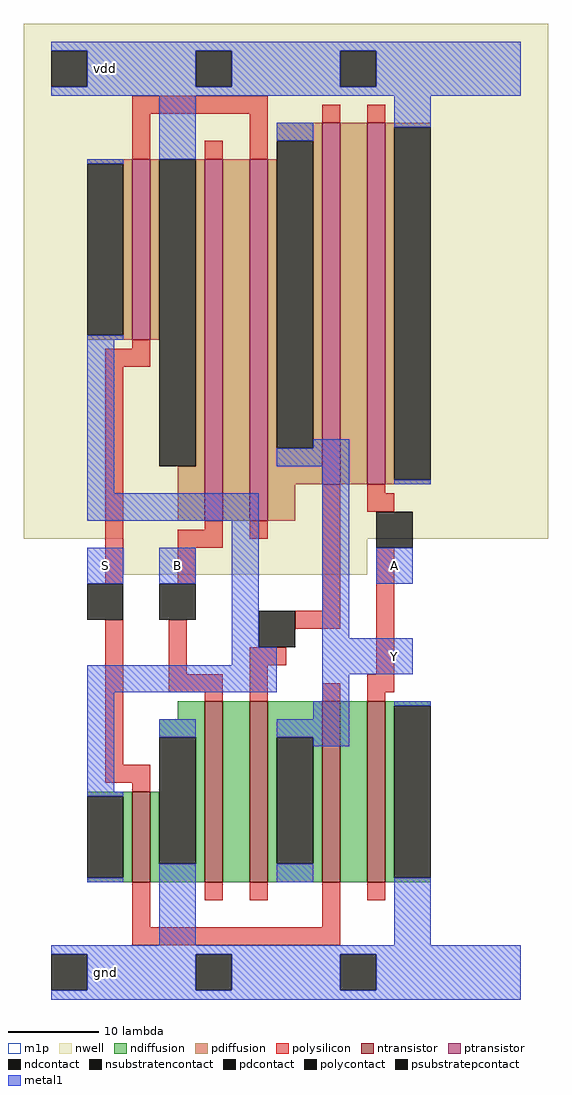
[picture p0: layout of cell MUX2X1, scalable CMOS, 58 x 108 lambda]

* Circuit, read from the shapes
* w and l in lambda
.subckt MUX2X1 A B S Y vdd gnd
M1 gnd S n1 gnd nfet w=10 l=2
M2 n2 B gnd gnd nfet w=20 l=2
M3 Y n1 n2 gnd nfet w=20 l=2
M4 n3 S Y gnd nfet w=20 l=2
M5 gnd A n3 gnd nfet w=20 l=2
M6 vdd S n1 vdd pfet w=20 l=2
M7 n4 B vdd vdd pfet w=40 l=2
M8 Y S n4 vdd pfet w=40 l=2
M9 n5 n1 Y vdd pfet w=40 l=2
M10 vdd A n5 vdd pfet w=40 l=2
.ends

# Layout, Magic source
magic
tech scmos
magscale 1 2
<< nwell >>
rect -10 96 106 210
rect 12 88 66 96
<< ntransistor >>
rect 14 20 18 40
rect 30 20 34 60
rect 40 20 44 60
rect 56 20 60 60
rect 66 20 70 60
<< ptransistor >>
rect 14 140 18 180
rect 30 100 34 180
rect 40 100 44 180
rect 56 108 60 188
rect 66 108 70 188
<< ndiffusion >>
rect 24 56 30 60
rect 20 52 30 56
rect 4 39 14 40
rect 12 21 14 39
rect 4 20 14 21
rect 18 24 20 40
rect 28 24 30 52
rect 18 20 30 24
rect 34 20 40 60
rect 44 52 56 60
rect 44 24 46 52
rect 54 24 56 52
rect 44 20 56 24
rect 60 20 66 60
rect 70 59 80 60
rect 70 21 72 59
rect 70 20 80 21
<< pdiffusion >>
rect 46 184 56 188
rect 4 179 14 180
rect 12 141 14 179
rect 4 140 14 141
rect 18 140 20 180
rect 28 112 30 180
rect 24 100 30 112
rect 34 100 40 180
rect 44 116 46 180
rect 54 116 56 184
rect 44 108 56 116
rect 60 108 66 188
rect 70 187 80 188
rect 70 109 72 187
rect 70 108 80 109
rect 44 100 50 108
<< ndcontact >>
rect 4 21 12 39
rect 20 24 28 52
rect 46 24 54 52
rect 72 21 80 59
<< pdcontact >>
rect 4 141 12 179
rect 20 112 28 180
rect 46 116 54 184
rect 72 109 80 187
<< psubstratepcontact >>
rect -4 -4 4 4
rect 28 -4 36 4
rect 60 -4 68 4
<< nsubstratencontact >>
rect -4 196 4 204
rect 28 196 36 204
rect 60 196 68 204
<< polysilicon >>
rect 14 190 44 194
rect 14 180 18 190
rect 30 180 34 184
rect 40 180 44 190
rect 56 188 60 192
rect 66 188 70 192
rect 14 138 18 140
rect 8 134 18 138
rect 8 86 12 134
rect 30 98 34 100
rect 24 94 34 98
rect 40 96 44 100
rect 24 86 28 94
rect 56 80 60 108
rect 66 106 70 108
rect 66 102 72 106
rect 8 46 12 78
rect 22 66 26 78
rect 50 76 60 80
rect 40 68 48 72
rect 22 62 34 66
rect 30 60 34 62
rect 40 60 44 68
rect 68 66 72 94
rect 56 60 60 64
rect 66 62 72 66
rect 66 60 70 62
rect 8 42 18 46
rect 14 40 18 42
rect 14 10 18 20
rect 30 16 34 20
rect 40 16 44 20
rect 56 10 60 20
rect 66 16 70 20
rect 14 6 60 10
<< polycontact >>
rect 4 78 12 86
rect 20 78 28 86
rect 42 72 50 80
rect 68 94 76 102
<< metal1 >>
rect -4 204 100 206
rect 4 196 28 204
rect 36 196 60 204
rect 68 196 100 204
rect -4 194 100 196
rect 20 180 28 194
rect 4 179 12 180
rect 4 140 12 141
rect 4 106 10 140
rect 46 184 54 188
rect 72 187 80 194
rect 54 116 62 118
rect 46 112 62 116
rect 4 100 42 106
rect 4 86 12 94
rect 20 86 28 94
rect 36 72 42 100
rect 56 74 62 112
rect 72 108 80 109
rect 68 86 76 94
rect 36 68 46 72
rect 4 62 46 68
rect 56 66 76 74
rect 4 40 10 62
rect 56 60 62 66
rect 54 56 62 60
rect 20 52 28 56
rect 4 39 12 40
rect 4 20 12 21
rect 20 6 28 24
rect 46 52 62 56
rect 54 50 62 52
rect 72 59 80 60
rect 46 20 54 24
rect 72 6 80 21
rect -4 4 100 6
rect 4 -4 28 4
rect 36 -4 60 4
rect 68 -4 100 4
rect -4 -6 100 -4
<< m1p >>
rect 4 86 12 94
rect 20 86 28 94
rect 68 86 76 94
rect 68 66 76 74
<< labels >>
rlabel metal1 8 90 8 90 4 S
port 3 se
rlabel metal1 8 200 8 200 4 vdd
port 5 se
rlabel metal1 8 0 8 0 4 gnd
port 6 se
rlabel metal1 72 70 72 70 4 Y
port 4 se
rlabel metal1 72 90 72 90 4 A
port 1 se
rlabel metal1 24 90 24 90 4 B
port 2 se
<< end >>
